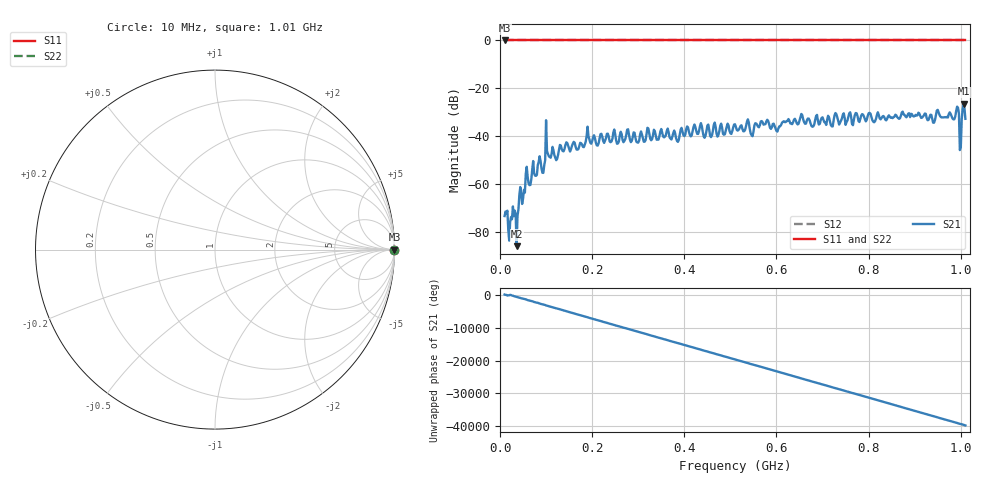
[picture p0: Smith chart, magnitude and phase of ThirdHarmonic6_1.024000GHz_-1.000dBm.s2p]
! 8/16/2025 8:38:37 AM
! C:\ANRITSUVNA\TEMP\TEMP.S2P
! CHANNEL.1
! TR.MEASUREMENT
! RAW.DATA
! RF.CORRECTION.OFF
! AVERAGING.OFF
! IF.BANDWIDTH: 5KHZ
! SWEEPTYPE:  FREQ.SWEEP(Linear)
! Reference Plane Port Info
! PORT:  PORT1  PORT2
! DISTANCE:  0  m  0  m
! TIME:  0  s  0  s
! PHASE.OFFSET:  0  deg.  0  deg.
! LOSS:  0  dB  0  dB
! REF.LOSS:  0  dB  0  dB
! REF.FREQ:  0  Hz  0  Hz
! Power Info
! POWER:  -20  dBm  -20  dBm
! EFF.POWER:  -20  dBm  -20  dBm
! SOURCE.ATTEN:  0  dB  0  dB
! TEST.ATTEN:  0  dB  0  dB
# GHZ S RI R 50.0
! FREQ.GHZ  S11RE  S11IM  S21RE  S21IM  S12RE  S12IM  S22RE  S22IM
!; PortSelection: Port_12
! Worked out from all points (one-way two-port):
!   501 points, 10 MHz to 1.01 GHz, reference 50 ohm
!   highest |S21| = -26.46 dB at 1.006 GHz (marker M1); lowest = -86.0 dB at 36 MHz (marker M2)
!   lowest |S11| = 0.0 dB at 10 MHz (marker M3)
!   |S11| at or under -10 dB: nowhere
!   |S22| runs from 0.0 to 0.0 dB; largest |S21 - S12| = 1
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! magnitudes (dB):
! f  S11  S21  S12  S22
! 10 MHz  0.0  -73.4  0.0  0.0
! 22 MHz  0.0  -76.0  0.0  0.0
! 36 MHz  0.0  -86.0  0.0  0.0
! 56 MHz  0.0  -55.7  0.0  0.0
! 86 MHz  0.0  -48.4  0.0  0.0
! 94 MHz  0.0  -55.4  0.0  0.0
! 102 MHz  0.0  -46.3  0.0  0.0
! 122 MHz  0.0  -50.1  0.0  0.0
! 144 MHz  0.0  -42.6  0.0  0.0
! 178 MHz  0.0  -43.5  0.0  0.0
! 190 MHz  0.0  -36.1  0.0  0.0
! 344 MHz  0.0  -41.5  0.0  0.0
! 510 MHz  0.0  -35.0  0.0  0.0
! 538 MHz  0.0  -33.0  0.0  0.0
! 546 MHz  0.0  -39.6  0.0  0.0
! 654 MHz  0.0  -30.7  0.0  0.0
! 678 MHz  0.0  -36.1  0.0  0.0
! 844 MHz  0.0  -31.3  0.0  0.0
! 992 MHz  0.0  -27.7  0.0  0.0
! 1 GHz  0.0  -44.8  0.0  0.0
! 1.006 GHz  0.0  -26.5  0.0  0.0
! 1.01 GHz  0.0  -32.8  0.0  0.0
